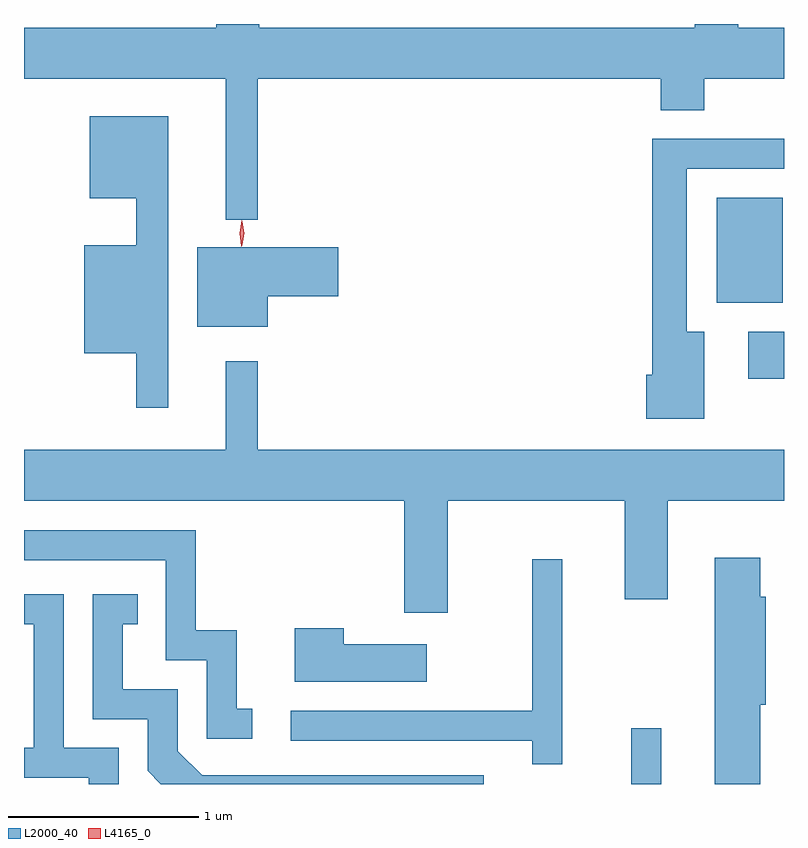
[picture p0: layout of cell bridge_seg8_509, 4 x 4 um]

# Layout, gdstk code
import gdstk
lib = gdstk.Library(unit=1e-6, precision=1e-09)
def R(c, l, rs):  # rectangles x0, y0, x1, y1
    for r in rs: c.add(gdstk.rectangle(r[:2], r[2:], *l))
def P(c, l, *ps):  # polygons
    for p in ps: c.add(gdstk.Polygon(p, *l))
L2000_40 = (2000, 40)
L4165_0 = (4165, 0)

bridge_seg8_509 = lib.new_cell('bridge_seg8_509')
R(bridge_seg8_509, L2000_40, [(260.326,1843.804,260.484,1844.098), (260.941,1845.936,261.13,1846.184), (260.776,1846.336,261.124,1846.889)])
P(bridge_seg8_509, L2000_40, [(258.359,1847.516),(260.481,1847.516),(260.481,1847.351),(260.709,1847.351),(260.709,1847.516),(261.13,1847.516),(261.13,1847.784),(260.889,1847.784),(260.889,1847.804),(260.661,1847.804),(260.661,1847.784),(258.369,1847.784),(258.369,1847.804),(258.141,1847.804),(258.141,1847.784),(257.13,1847.784),(257.13,1847.516),(258.191,1847.516),(258.191,1846.773),(258.359,1846.773)],
  [(257.889,1847.319),(257.476,1847.319),(257.476,1846.886),(257.721,1846.886),(257.721,1846.639),(257.446,1846.639),(257.446,1846.071),(257.721,1846.071),(257.721,1845.783),(257.889,1845.783)],
  [(260.709,1846.184),(260.619,1846.184),(260.619,1847.041),(261.13,1847.041),(261.13,1847.199),(260.436,1847.199),(260.436,1845.959),(260.406,1845.959),(260.406,1845.726),(260.709,1845.726)],
  [(258.414,1846.371),(258.784,1846.371),(258.784,1846.629),(258.041,1846.629),(258.041,1846.211),(258.414,1846.211)],
  [(259.359,1845.296),(260.291,1845.296),(260.291,1844.776),(260.519,1844.776),(260.519,1845.296),(261.13,1845.296),(261.13,1845.564),(258.359,1845.564),(258.359,1846.028),(258.191,1846.028),(258.191,1845.564),(257.13,1845.564),(257.13,1845.296),(259.131,1845.296),(259.131,1844.706),(259.359,1844.706)],
  [(258.332,1844.199),(258.249,1844.199),(258.249,1844.614),(258.034,1844.614),(258.034,1845.139),(257.13,1845.139),(257.13,1844.981),(257.876,1844.981),(257.876,1844.456),(258.091,1844.456),(258.091,1844.041),(258.332,1844.041)],
  [(261.004,1844.221),(261.034,1844.221),(261.034,1844.789),(261.004,1844.789),(261.004,1844.994),(260.766,1844.994),(260.766,1843.804),(261.004,1843.804)],
  [(259.964,1844.988),(259.806,1844.988),(259.806,1844.189),(258.533,1844.189),(258.533,1844.031),(259.806,1844.031),(259.806,1843.908),(259.964,1843.908)],
  [(259.549,1843.849),(258.067,1843.849),(257.939,1843.977),(257.939,1844.304),(257.649,1844.304),(257.649,1844.646),(257.728,1844.646),(257.728,1844.804),(257.491,1844.804),(257.491,1844.146),(257.781,1844.146),(257.781,1843.874),(257.851,1843.804),(259.549,1843.804)],
  [(257.629,1843.994),(257.339,1843.994),(257.339,1844.804),(257.13,1844.804),(257.13,1844.646),(257.181,1844.646),(257.181,1843.994),(257.13,1843.994),(257.13,1843.836),(257.471,1843.836),(257.471,1843.804),(257.629,1843.804)],
  [(259.249,1844.539),(258.814,1844.539),(258.814,1844.624),(258.556,1844.624),(258.556,1844.341),(259.249,1844.341)])
P(bridge_seg8_509, L4165_0, [(258.274,1846.634),(258.266,1846.702),(258.276,1846.77),(258.277,1846.77),(258.277,1846.77),(258.286,1846.702),(258.276,1846.634),(258.275,1846.634)],
  [(258.278,1846.64),(258.278,1846.64),(258.268,1846.703),(258.277,1846.766),(258.277,1846.767),(258.278,1846.766),(258.288,1846.703),(258.278,1846.64)])

lib.write_gds('bridge_seg8_509.gds')
